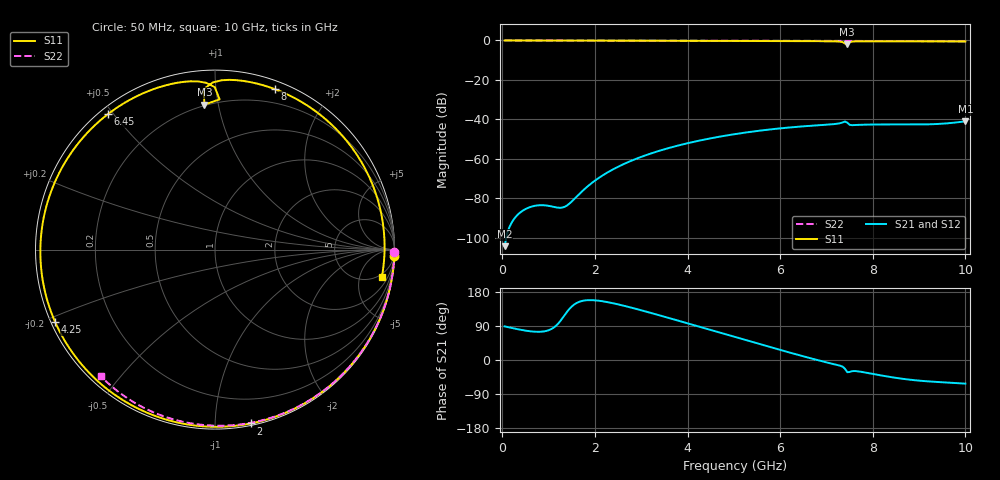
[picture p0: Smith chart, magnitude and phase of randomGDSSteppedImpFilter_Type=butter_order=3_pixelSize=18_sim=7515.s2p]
! freq	dB(S11)	phase(S11)	dB(S12)	phase(S12)
!  dB(S21)	phase(S21)	dB(S22)	phase(S22)
!S-par simulation data
#  GHz  S  DB  R 50
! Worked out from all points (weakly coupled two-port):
!   200 points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, 50 MHz to 10 GHz, reference 50 ohm
!   highest |S21| = -40.97 dB at 10 GHz (marker M1); lowest = -104.3 dB at 50 MHz (marker M2)
!   lowest |S11| = -1.8 dB at 7.45 GHz (marker M3), VSWR 9.54, Z = 9.69 + j45.6 ohm
!   |S11| at or under -10 dB: nowhere
!   |S22| runs from -0.4 to 0.0 dB; largest |S21 - S12| = 0
!   S11 on the Smith chart (normalised r, x): 50 MHz: 0, -56; 2 GHz: 0.01, -1.23; 4.25 GHz: 0.01, -0.22; 6.45 GHz: 0.02, +0.48; 8 GHz: 0.07, +1.44; 10 GHz: 4, -11
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0.05  -0.00 -2.1  -104.33 88.6  -104.33 88.6  -0.00 -0.8
0.75  -0.04 -30.3  -83.69 74.4  -83.69 74.4  -0.01 -11.4
1.55  -0.08 -61.5  -80.51 146.2  -80.51 146.2  -0.03 -23.4
1.75  -0.09 -69.0  -75.92 156.6  -75.92 156.6  -0.03 -26.3
2  -0.10 -78.3  -71.10 157.5  -71.10 157.5  -0.04 -30.0
2.65  -0.12 -101.6  -62.40 142.4  -62.40 142.4  -0.05 -39.4
3.4  -0.15 -127.3  -55.89 117.7  -55.89 117.7  -0.07 -50.1
4.25  -0.20 -155.6  -50.82 87.9  -50.82 87.9  -0.09 -61.8
5.05  -0.24 177.7  -47.41 59.7  -47.41 59.7  -0.11 -72.5
5.75  -0.29 153.7  -45.21 35.2  -45.21 35.2  -0.14 -81.6
6.45  -0.34 128.3  -43.64 11.4  -43.64 11.4  -0.17 -90.4
6.7  -0.36 118.8  -43.20 3.2  -43.20 3.2  -0.18 -93.5
7.25  -0.52 95.8  -42.16 -13.6  -42.16 -13.6  -0.21 -100.1
7.4  -1.54 88.3  -41.10 -23.2  -41.10 -23.2  -0.22 -101.9
7.45  -1.83 94.1  -41.72 -32.2  -41.72 -32.2  -0.22 -102.5
7.5  -0.96 94.1  -42.77 -31.6  -42.77 -31.6  -0.23 -103.1
7.6  -0.50 87.8  -42.93 -29.1  -42.93 -29.1  -0.23 -104.3
8  -0.41 69.6  -42.63 -36.7  -42.63 -36.7  -0.26 -109.0
8.35  -0.42 55.1  -42.61 -44.3  -42.61 -44.3  -0.29 -113.1
8.8  -0.43 36.8  -42.64 -52.0  -42.64 -52.0  -0.33 -118.3
9.2  -0.45 20.9  -42.54 -56.4  -42.54 -56.4  -0.36 -122.9
10  -0.52 -9.4  -40.97 -62.4  -40.97 -62.4  -0.45 -132.0
